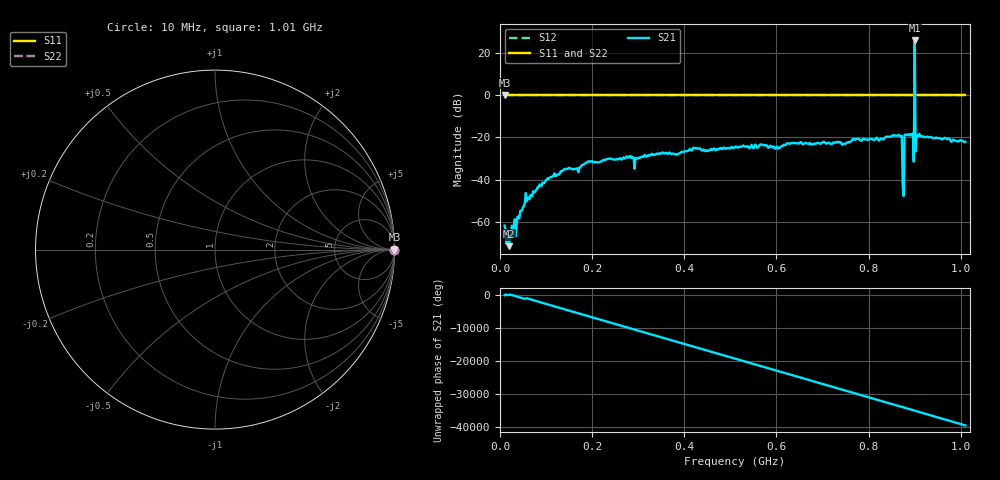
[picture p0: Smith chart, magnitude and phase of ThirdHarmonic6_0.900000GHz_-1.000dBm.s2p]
! 8/16/2025 5:31:49 AM
! C:\ANRITSUVNA\TEMP\TEMP.S2P
! CHANNEL.1
! TR.MEASUREMENT
! RAW.DATA
! RF.CORRECTION.OFF
! AVERAGING.OFF
! IF.BANDWIDTH: 5KHZ
! SWEEPTYPE:  FREQ.SWEEP(Linear)
! Reference Plane Port Info
! PORT:  PORT1  PORT2
! DISTANCE:  0  m  0  m
! TIME:  0  s  0  s
! PHASE.OFFSET:  0  deg.  0  deg.
! LOSS:  0  dB  0  dB
! REF.LOSS:  0  dB  0  dB
! REF.FREQ:  0  Hz  0  Hz
! Power Info
! POWER:  -20  dBm  -20  dBm
! EFF.POWER:  -20  dBm  -20  dBm
! SOURCE.ATTEN:  0  dB  0  dB
! TEST.ATTEN:  0  dB  0  dB
# GHZ S RI R 50.0
! FREQ.GHZ  S11RE  S11IM  S21RE  S21IM  S12RE  S12IM  S22RE  S22IM
!; PortSelection: Port_12
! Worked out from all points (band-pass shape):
!   501 points, 10 MHz to 1.01 GHz, reference 50 ohm
!   highest |S21| = 25.80 dB at 900 MHz (marker M1); lowest = -71.5 dB at 20 MHz (marker M2)
!   |S21| within 3 dB of the highest: 899.8954 MHz to 900.1144 MHz (219 kHz wide, 0.0243 % of centre)
!   lowest |S11| = 0.0 dB at 10 MHz (marker M3)
!   |S11| at or under -10 dB: nowhere
!   |S22| runs from 0.0 to 0.0 dB; largest |S21 - S12| = 20
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0.01  1 0  -0.000433 -0.00069  1 0  1 0
0.016  1 0  4.89e-05 -0.000504  1 0  1 0
0.02  1 0  0.000252 8.25e-05  1 0  1 0
0.054  1 0  -0.00281 0.000128  1 0  1 0
0.084  1 0  0.00547 0.00367  1 0  1 0
0.14  1 0  0.00413 -0.0171  1 0  1 0
0.178  1 0  -0.0215 -0.00492  1 0  1 0
0.344  1 0  0.0383 -0.0127  1 0  1 0
0.51  1 0  -0.0472 0.0356  1 0  1 0
0.678  1 0  -0.0553 -0.0386  1 0  1 0
0.844  1 0  0.1015 0.00673  1 0  1 0
0.868  1 0  -0.0315 0.1047  1 0  1 0
0.872  1 0  0.0674 -0.084  1 0  1 0
0.878  1 0  0.05 0.1022  1 0  1 0
0.882  1 0  -0.0187 -0.1152  1 0  1 0
0.892  1 0  -0.0955 -0.0674  1 0  1 0
0.894  1 0  -0.0816 0.0812  1 0  1 0
0.896  1 0  0.0737 0.0982  1 0  1 0
0.9  1 0  -1.623 -19.43  1 0  1 0
0.904  1 0  0.0191 0.1105  1 0  1 0
0.906  1 0  0.1071 0.000393  1 0  1 0
1.01  1 0  -0.0225 0.0748  1 0  1 0
